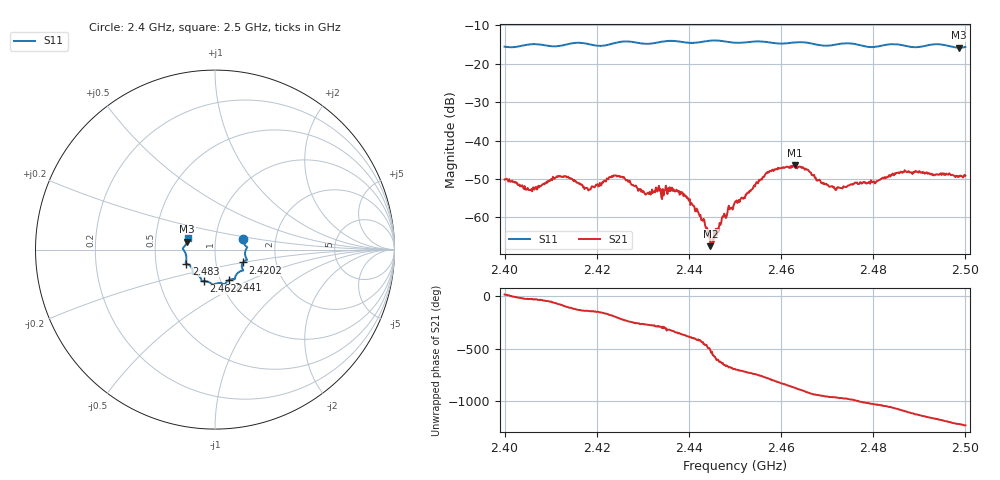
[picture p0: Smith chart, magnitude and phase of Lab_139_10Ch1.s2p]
# Hz S RI R 50
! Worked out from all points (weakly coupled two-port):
!   601 points, 2.4 GHz to 2.5 GHz, reference 50 ohm
!   highest |S21| = -46.45 dB at 2.463 GHz (marker M1); lowest = -67.5 dB at 2.4447 GHz (marker M2)
!   lowest |S11| = -15.8 dB at 2.4987 GHz (marker M3), VSWR 1.39, Z = 36.4 + j3.31 ohm
!   |S11| at or under -10 dB: start of sweep to end of sweep
!   S12 and S22 are empty: the file has one direction only
!   S11 on the Smith chart (normalised r, x): 2.4 GHz: 1.36, +0.17; 2.4202 GHz: 1.35, -0.20; 2.441 GHz: 1.09, -0.39; 2.4622 GHz: 0.83, -0.30; 2.483 GHz: 0.72, -0.12; 2.5 GHz: 0.73, +0.09
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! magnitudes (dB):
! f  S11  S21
! 2.4 GHz  -15.5  -50.1
! 2.4055 GHz  -14.9  -52.9
! 2.4117 GHz  -15.4  -49.2
! 2.4167 GHz  -14.6  -51.4
! 2.4202 GHz  -15.3  -51.3
! 2.4242 GHz  -14.5  -49.0
! 2.4305 GHz  -14.8  -53.9
! 2.4333 GHz  -14.4  -52.4
! 2.4382 GHz  -14.3  -53.3
! 2.441 GHz  -14.6  -57.0
! 2.4435 GHz  -14.2  -62.0
! 2.4447 GHz  -14.0  -67.5
! 2.45 GHz  -14.5  -56.0
! 2.4572 GHz  -14.4  -48.1
! 2.4622 GHz  -14.5  -47.1
! 2.463 GHz  -14.4  -46.4
! 2.4667 GHz  -14.7  -49.0
! 2.4722 GHz  -14.9  -52.2
! 2.483 GHz  -15.0  -49.6
! 2.4833 GHz  -15.0  -49.2
! 2.4987 GHz  -15.8  -49.4
! 2.5 GHz  -15.6  -49.1
